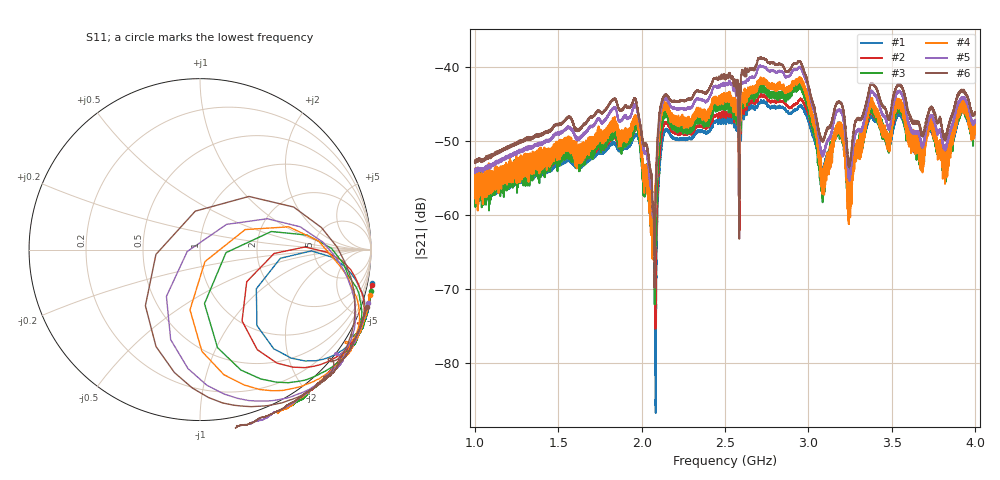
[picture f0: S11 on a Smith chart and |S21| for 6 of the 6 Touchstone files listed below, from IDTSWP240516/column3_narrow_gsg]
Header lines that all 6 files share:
!Agilent Technologies,N5230C,SG49000117,A.08.50.07
!Agilent N5230C: A.08.50.07
!Correction: S11(Full 2 Port(1,2))
!S21(Full 2 Port(1,2))
!S12(Full 2 Port(1,2))
!S22(Full 2 Port(1,2))
!S2P File: Measurements: S11, S21, S12, S22:
# Hz S  MA  R 50
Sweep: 1 GHz to 4 GHz
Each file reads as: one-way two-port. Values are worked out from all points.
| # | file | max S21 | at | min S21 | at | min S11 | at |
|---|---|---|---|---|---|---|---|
| 1 | d6.s2p | -44.47 dB | 2.717 GHz | -86.7 dB | 2.084 GHz | -8.1 dB | 2.59 GHz |
| 2 | d7.s2p | -43.67 dB | 2.718 GHz | -75.4 dB | 2.083 GHz | -9.6 dB | 2.59 GHz |
| 3 | d8.s2p | -42.15 dB | 2.952 GHz | -72.1 dB | 2.078 GHz | -17.7 dB | 2.588 GHz |
| 4 | d9.s2p | -41.38 dB | 2.946 GHz | -66.3 dB | 2.074 GHz | -23.7 dB | 2.588 GHz |
| 5 | d11.s2p | -39.76 dB | 2.712 GHz | -62.5 dB | 2.077 GHz | -26.4 dB | 2.585 GHz |
| 6 | d12.s2p | -38.68 dB | 2.713 GHz | -69.8 dB | 2.078 GHz | -14.1 dB | 2.587 GHz |
